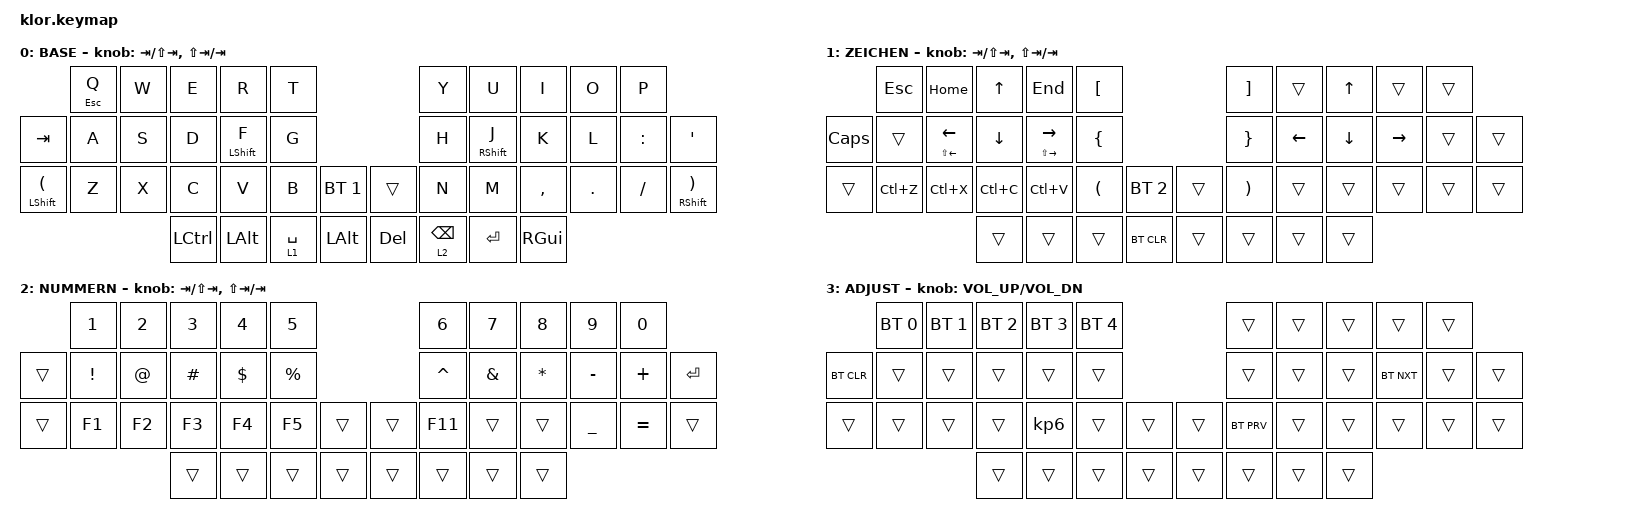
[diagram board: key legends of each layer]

//                               █         █    █            ▄▄▄▀▀▀▀▀▀▄▄▄        █▀▀▀▀▀▀▀▀▀▀█
//                               █        █     █          ▄▀            ▀▄      █          █
//                               █       █      █        ▄▀                ▀▄    █          █
//                               █      █       █        █                  █    █          █
//                               █     █        █       █                    █   █          █
//                               █    █         █       █                    █   █▄▄▄▄▄▄▄▄▄▄█
//                               █   █ █        █       █                    █   █      █
//                               █  █   █       █        █                  █    █       █
//                               █ █     █      █        ▀▄                ▄▀    █        █
//                               ██       █     █          ▀▄            ▄▀      █         █
//                               █         █    █▄▄▄▄▄▄▄▄    ▀▀▀▄▄▄▄▄▄▀▀▀        █          █
//
// ▄▄▄▄▄▄▄▄▄▄▄▄▄▄▄▄▄▄▄▄▄▄▄▄▄▄▄▄▄▄▄▄▄▄▄▄▄▄▄▄▄▄▄▄▄▄▄▄▄▄▄▄▄▄▄▄▄▄▄▄▄▄▄▄▄▄▄▄▄▄▄▄▄▄▄▄▄▄▄▄▄▄▄▄▄▄▄▄▄▄▄▄▄▄▄▄▄▄▄▄▄▄▄▄▄▄▄▄▄▄▄▄▄▄▄▄▄▄▄▄▄▄▄▄▄
       
#include <behaviors.dtsi>
#include <dt-bindings/zmk/keys.h>
#include <dt-bindings/zmk/bt.h>
#include <dt-bindings/zmk/outputs.h>
#include <dt-bindings/zmk/ext_power.h>



#define BASE   0
#define LOWER  1
#define RAISE  2
#define ADJUST 3


/ {
    behaviors {
               hm: homerow_mods {
            compatible = "zmk,behavior-hold-tap";
            label = "HOMEROW_MODS";
            #binding-cells = <2>;
            tapping-term-ms = <320>;
            quick-tap-ms = <0>;
            flavor = "tap-preferred";
            bindings = <&kp>, <&kp>;
        };

    };

     combos {
            compatible = "zmk,combos";
            combo_esc {
                timeout-ms = <50>;
                key-positions = <0 1>;
                bindings = <&kp ESC>;
            };
        
    };

    conditional_layers {
        compatible = "zmk,conditional-layers";
        tri_layer {
            if-layers = <1 2>;
            then-layer = <3>;
        };
    };




        keymap {
                compatible = "zmk,keymap";
// ▄▄▄▄▄▄▄▄▄▄▄▄▄▄▄▄▄▄▄▄▄▄▄▄▄▄▄▄▄▄▄▄▄▄▄▄▄▄▄▄▄▄▄▄▄▄▄▄▄▄▄▄▄▄▄▄▄▄▄▄▄▄▄▄▄▄▄▄▄▄▄▄▄▄▄▄▄▄▄▄▄▄▄▄▄▄▄▄▄▄▄▄▄▄▄▄▄▄▄▄▄▄▄▄▄▄▄▄▄▄▄▄▄▄▄▄▄▄▄▄▄▄▄▄▄▄▄▄▄▄▄▄▄▄▄▄▄▄▄▄▄▄


                base_layer {
// ┌───────────────────────────────────────────────────────────┐
label= "BASE"                                                  ;
// └───────────────────────────────────────────────────────────┘

 bindings = <
 //╷         ╷         ╷         ╷         ╷                       ╷                       ╷           ╷╷         ╷            ╷             ╷         ╷          ╷          ╷         ╷
              &mt ESC Q     &kp W     &kp E     &kp R    &kp T                                  &kp Y        &kp U         &kp I     &kp O      &kp P
    &kp TAB   &kp A     &kp S     &kp D     &mt LSHFT F    &kp G                                  &kp H        &mt RSHFT J         &kp K     &kp L      &kp COLON     &kp SQT
&mt LSHFT LPAR &kp Z    &kp X     &kp C     &kp V    &kp B        &bt BT_SEL 1       &trans       &kp N        &kp M         &kp COMMA   &kp DOT  &kp FSLH  &mt RSHFT RPAR
                                 &kp LCTRL &kp LALT  &lt 1 SPACE  &kp LALT     &kp DEL      &lt 2 BSPC     &kp RET   &kp RGUI    
                        >;
            sensor-bindings = <&inc_dec_kp TAB LS(TAB) &inc_dec_kp LS(TAB) TAB>;
                };

// ▄▄▄▄▄▄▄▄▄▄▄▄▄▄▄▄▄▄▄▄▄▄▄▄▄▄▄▄▄▄▄▄▄▄▄▄▄▄▄▄▄▄▄▄▄▄▄▄▄▄▄▄▄▄▄▄▄▄▄▄▄▄▄▄▄▄▄▄▄▄▄▄▄▄▄▄▄▄▄▄▄▄▄▄▄▄▄▄▄▄▄▄▄▄▄▄▄▄▄▄▄▄▄▄▄▄▄▄▄▄▄▄▄▄▄▄▄▄▄▄▄▄▄▄▄▄▄▄▄▄▄▄▄▄▄▄▄▄▄▄▄▄


                signs_layer {
// ┌───────────────────────────────────────────────────────────┐
label= "ZEICHEN"                                                 ;
// └───────────────────────────────────────────────────────────┘

 bindings = <
 //╷        ╷            ╷          ╷           ╷             ╷            ╷        ╷╷         ╷         ╷         ╷         ╷         ╷         ╷         ╷
             &kp ESC      &kp HOME   &kp UP     &kp END        &kp LBKT                               &kp RBKT  &trans    &kp UP    &trans    &trans
    &kp CAPS &trans       &mt LS(LEFT) LEFT &kp DOWN &mt LS(RIGHT) RIGHT &kp LBRC                     &kp RBRC  &kp LEFT  &kp DOWN  &kp RIGHT &trans    &trans
    &trans   &kp LC(Z)   &kp LC(X)  &kp LC(C)   &kp LC(V)      &kp LPAR  &bt BT_SEL 2    &trans      &kp RPAR  &trans    &trans    &trans    &trans    &trans
                             &trans     &trans        &trans       &bt BT_CLR    &trans    &trans    &trans    &trans  
                        >;
            sensor-bindings = <&inc_dec_kp TAB LS(TAB) &inc_dec_kp LS(TAB) TAB>;
                };

// ▄▄▄▄▄▄▄▄▄▄▄▄▄▄▄▄▄▄▄▄▄▄▄▄▄▄▄▄▄▄▄▄▄▄▄▄▄▄▄▄▄▄▄▄▄▄▄▄▄▄▄▄▄▄▄▄▄▄▄▄▄▄▄▄▄▄▄▄▄▄▄▄▄▄▄▄▄▄▄▄▄▄▄▄▄▄▄▄▄▄▄▄▄▄▄▄▄▄▄▄▄▄▄▄▄▄▄▄▄▄▄▄▄▄▄▄▄▄▄▄▄▄▄▄▄


                num_layer {
// ┌───────────────────────────────────────────────────────────┐
label= "NUMMERN"                                                 ;
// └───────────────────────────────────────────────────────────┘

 bindings = <
 //╷         ╷       ╷       ╷       ╷       ╷              ╷         ╷╷         ╷         ╷                 ╷       ╷                ╷         ╷         ╷
              &kp N1  &kp N2  &kp N3  &kp N4  &kp N5                                &kp N6      &kp N7      &kp N8      &kp N9         &kp N0         
    &trans    &kp EXCL  &kp AT  &kp HASH  &kp DLLR  &kp PRCNT                       &kp CARET  &kp AMPS     &kp ASTRK  &kp MINUS       &kp PLUS    &kp RET  
    &trans    &kp F1  &kp F2  &kp F3  &kp F4  &kp F5         &trans     &trans      &kp F11    &trans       &trans     &kp UNDER          &kp EQUAL      &trans
                              &trans  &trans  &trans         &trans     &trans    &trans    &trans            &trans  
                        >;
            sensor-bindings = <&inc_dec_kp TAB LS(TAB) &inc_dec_kp LS(TAB) TAB>;
                };

// ▄▄▄▄▄▄▄▄▄▄▄▄▄▄▄▄▄▄▄▄▄▄▄▄▄▄▄▄▄▄▄▄▄▄▄▄▄▄▄▄▄▄▄▄▄▄▄▄▄▄▄▄▄▄▄▄▄▄▄▄▄▄▄▄▄▄▄▄▄▄▄▄▄▄▄▄▄▄▄▄▄▄▄▄▄▄▄▄▄▄▄▄▄▄▄▄▄▄▄▄▄▄▄▄▄▄▄▄▄▄▄▄▄▄▄▄▄▄▄▄▄▄▄▄▄


                adjust_layer {
// ┌───────────────────────────────────────────────────────────┐
label= "ADJUST"                                                ;
// └───────────────────────────────────────────────────────────┘
/*           ┌─────────┬─────────┬─────────┬─────────┬─────────┐                    ┌─────────┬─────────┬─────────┬─────────┬─────────┐
             │         │         │         │         │         │                    │         │         │         │         │         │
   ┌─────────┼─────────┼─────────┼─────────┼─────────┼─────────┤                    ├─────────┼─────────┼─────────┼─────────┼─────────┼─────────┐
   │         │         │         │         │         │         │                    │         │         │         │         │         │         │
   ├─────────┼─────────┼─────────┼─────────┼─────────┼─────────┤╭────────╮╭────────╮├─────────┼─────────┼─────────┼─────────┼─────────┼─────────┤
   │         │         │         │         │         │         ││        ││        ││         │         │         │         │         │         │
   └─────────┴─────────┴─────────┼─────────┼─────────┼─────────┼╰────────╯╰────────╯┼─────────┼─────────┼─────────┼─────────┴─────────┴─────────┘
                                 │         │         │         │         ││         │         │         │         │  
                                 └─────────┴─────────┴─────────┴─────────┘└─────────┴─────────┴─────────┴─────────┘ */ 
 bindings = <
 //╷         ╷         ╷         ╷         ╷         ╷         ╷         ╷╷         ╷         ╷         ╷         ╷         ╷         ╷         ╷
             &bt BT_SEL 0 &bt BT_SEL 1    &bt BT_SEL 2    &bt BT_SEL 3    &bt BT_SEL 4                         &trans    &trans    &trans    &trans    &trans   
    &bt BT_CLR   &trans &trans    &trans    &trans    &trans                         &trans    &trans    &trans    &bt BT_NXT &trans   &trans 
    &trans   &trans &trans    &trans    &kp KP_N6 &trans    &trans     &trans    &bt BT_PRV &trans   &trans    &trans    &trans    &trans    
                                  &trans    &trans    &trans    &trans     &trans    &trans    &trans    &trans    
                        >;
            sensor-bindings = <&inc_dec_kp C_VOL_UP C_VOL_DN>;
                };
        };
};
